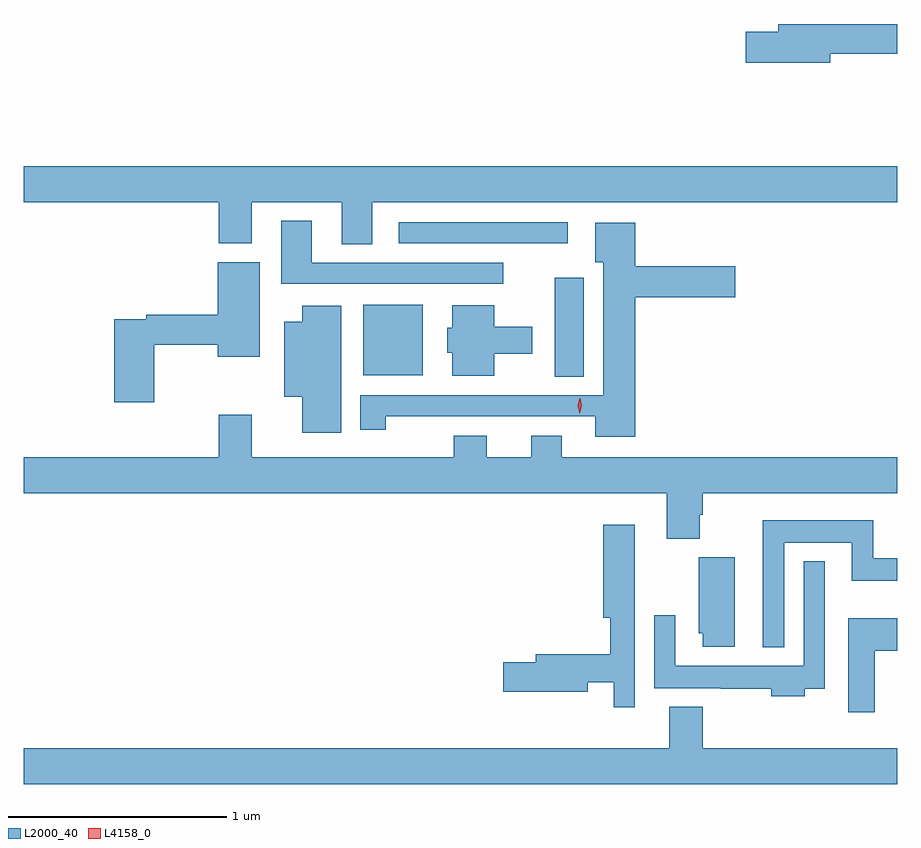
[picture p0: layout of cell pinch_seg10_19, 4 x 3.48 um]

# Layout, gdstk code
import gdstk
lib = gdstk.Library(unit=1e-6, precision=1e-09)
def R(c, l, rs):  # rectangles x0, y0, x1, y1
    for r in rs: c.add(gdstk.rectangle(r[:2], r[2:], *l))
def P(c, l, *ps):  # polygons
    for p in ps: c.add(gdstk.Polygon(p, *l))
L2000_40 = (2000, 40)
L4158_0 = (4158, 0)

pinch_seg10_19 = lib.new_cell('pinch_seg10_19')
R(pinch_seg10_19, L2000_40, [(954.338,1279.537,954.472,1279.99), (953.462,1279.544,953.734,1279.867), (953.625,1280.148,954.397,1280.244)])
P(pinch_seg10_19, L2000_40, [(955.6,1281.016),(955.907,1281.016),(955.907,1281.152),(955.361,1281.152),(955.361,1281.116),(955.212,1281.116),(955.212,1280.974),(955.6,1280.974)],
  [(953.503,1280.336),(955.907,1280.336),(955.907,1280.5),(951.907,1280.5),(951.907,1280.336),(952.799,1280.336),(952.799,1280.147),(952.951,1280.147),(952.951,1280.336),(953.363,1280.336),(953.363,1280.143),(953.503,1280.143)],
  [(954.103,1280.058),(953.227,1280.058),(953.227,1280.251),(953.087,1280.251),(953.087,1279.962),(954.103,1279.962)],
  [(954.707,1279.901),(955.165,1279.901),(955.165,1280.043),(954.707,1280.043),(954.707,1280.242),(954.524,1280.242),(954.524,1280.06),(954.56,1280.06),(954.56,1279.452),(953.447,1279.452),(953.447,1279.293),(953.565,1279.293),(953.565,1279.355),(953.792,1279.355),(953.792,1279.356),(954.524,1279.356),(954.524,1279.262),(954.707,1279.262)],
  [(952.505,1279.684),(952.796,1279.684),(952.796,1279.628),(952.987,1279.628),(952.987,1280.062),(952.796,1280.062),(952.796,1279.82),(952.468,1279.82),(952.468,1279.8),(952.322,1279.8),(952.322,1279.419),(952.505,1279.419)],
  [(954.061,1279.643),(954.235,1279.643),(954.235,1279.765),(954.061,1279.765),(954.061,1279.864),(953.87,1279.864),(953.87,1279.761),(953.846,1279.761),(953.846,1279.647),(953.87,1279.647),(953.87,1279.541),(954.061,1279.541)],
  [(953.362,1279.861),(953.183,1279.861),(953.183,1279.789),(953.099,1279.789),(953.099,1279.445),(953.183,1279.445),(953.183,1279.28),(953.362,1279.28)],
  [(955.003,1278.905),(955.016,1278.905),(955.016,1279.004),(955.907,1279.004),(955.907,1279.168),(954.37,1279.168),(954.37,1279.267),(954.23,1279.267),(954.23,1279.168),(954.028,1279.168),(954.028,1279.267),(953.876,1279.267),(953.876,1279.168),(952.951,1279.168),(952.951,1279.363),(952.799,1279.363),(952.799,1279.168),(951.907,1279.168),(951.907,1279.004),(954.851,1279.004),(954.851,1278.796),(955.003,1278.796)],
  [(955.389,1278.776),(955.698,1278.776),(955.698,1278.602),(955.907,1278.602),(955.907,1278.706),(955.796,1278.706),(955.796,1278.88),(955.292,1278.88),(955.292,1278.299),(955.389,1278.299)],
  [(954.705,1278.538),(954.706,1278.538),(954.706,1278.859),(954.56,1278.859),(954.56,1278.434),(954.593,1278.434),(954.593,1278.266),(954.251,1278.266),(954.251,1278.23),(954.102,1278.23),(954.102,1278.095),(954.49,1278.095),(954.49,1278.138),(954.609,1278.138),(954.609,1278.024),(954.705,1278.024)],
  [(955.162,1278.711),(954.998,1278.711),(954.998,1278.363),(955.016,1278.363),(955.016,1278.3),(955.162,1278.3)],
  [(955.483,1278.108),(955.575,1278.108),(955.575,1278.691),(955.479,1278.691),(955.479,1278.214),(954.891,1278.214),(954.891,1278.445),(954.795,1278.445),(954.795,1278.11),(955.099,1278.11),(955.099,1278.108),(955.331,1278.108),(955.331,1278.074),(955.483,1278.074)],
  [(955.804,1278.283),(955.907,1278.283),(955.907,1278.43),(955.682,1278.43),(955.682,1278),(955.804,1278)],
  [(955.907,1277.836),(955.016,1277.836),(955.016,1278.025),(954.863,1278.025),(954.863,1277.836),(951.907,1277.836),(951.907,1277.672),(955.907,1277.672)])
P(pinch_seg10_19, L4158_0, [(954.452,1279.367),(954.452,1279.367),(954.443,1279.403),(954.454,1279.439),(954.455,1279.439),(954.455,1279.439),(954.463,1279.403),(954.452,1279.367)])

lib.write_gds('pinch_seg10_19.gds')
